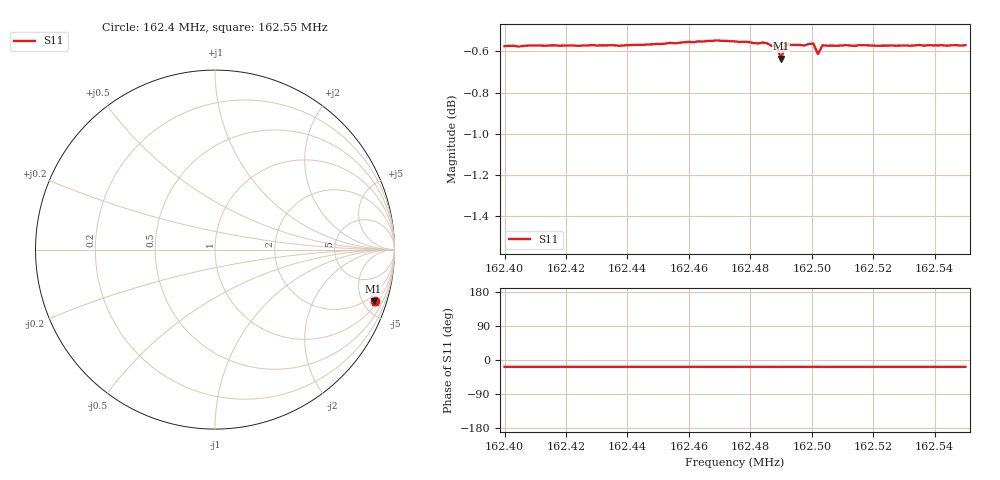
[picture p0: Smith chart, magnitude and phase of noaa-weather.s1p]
! Calibrated averaged scanner-service zoom
# Hz S RI R 50
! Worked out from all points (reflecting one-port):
!   101 points, 162.4 MHz to 162.55 MHz, reference 50 ohm
!   lowest |S11| = -0.6 dB at 162.49 MHz (marker M1), VSWR 27.39, Z = 70.2 - j298 ohm
!   phase of S11 starts at -18 deg and turns -0 deg over the sweep
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1.624e8  0.8903 -0.289
1.62403e8  0.8905 -0.2891
1.624045e8  0.89 -0.2892
1.624075e8  0.8906 -0.2891
1.624195e8  0.8906 -0.2892
1.624375e8  0.8903 -0.2895
1.62457e8  0.8918 -0.2903
1.62469e8  0.8928 -0.2909
1.62475e8  0.8924 -0.2907
1.624825e8  0.8913 -0.2905
1.62484e8  0.8922 -0.2894
1.624855e8  0.8914 -0.2904
1.62487e8  0.8901 -0.2899
1.624885e8  0.8896 -0.2914
1.6249e8  0.8836 -0.2885
1.624915e8  0.8909 -0.2903
1.62493e8  0.8907 -0.2898
1.624945e8  0.8906 -0.2901
1.62496e8  0.8909 -0.2891
1.624975e8  0.8903 -0.2902
1.62499e8  0.8904 -0.2922
1.625005e8  0.8917 -0.2892
1.62502e8  0.8865 -0.2873
1.625035e8  0.8904 -0.2902
1.625125e8  0.8903 -0.2901
1.62532e8  0.8902 -0.2901
1.62535e8  0.8905 -0.2904
1.6255e8  0.8903 -0.2906
